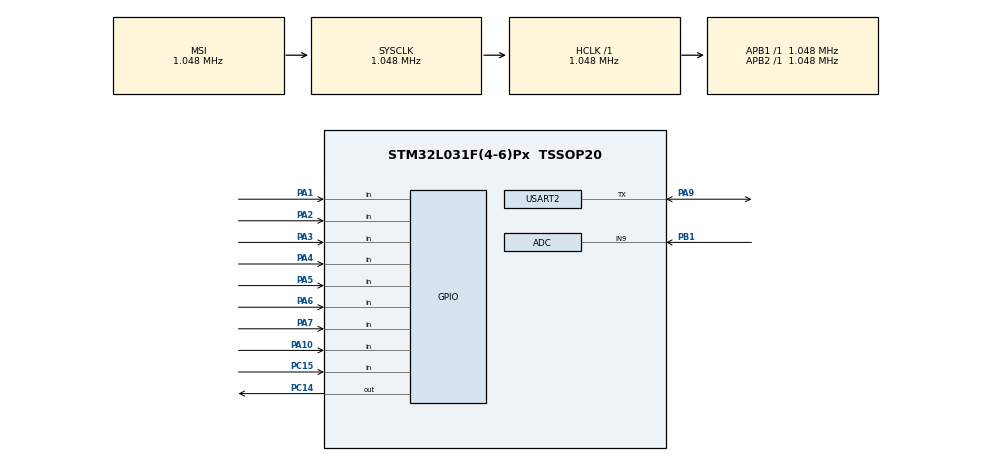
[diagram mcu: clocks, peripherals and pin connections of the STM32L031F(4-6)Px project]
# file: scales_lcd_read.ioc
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ADC.ClockPrescaler=ADC_CLOCK_SYNC_PCLK_DIV1
ADC.ContinuousConvMode=ENABLE
ADC.LowPowerAutoWait=ENABLE
ADC.Resolution=ADC_RESOLUTION_10B
ADC.SamplingTime=ADC_SAMPLETIME_7CYCLES_5
Mcu.Family=STM32L0
Mcu.Name=STM32L031F(4-6)Px
Mcu.Package=TSSOP20
PA0-CK_IN.Mode=SYS_WakeUp0
PA0-CK_IN.Signal=SYS_WKUP1
PA1.Signal=GPIO_Input
PA10.Signal=GPIO_Input
PA13.Mode=Serial_Wire
PA13.Signal=SYS_SWDIO
PA14.Mode=Serial_Wire
PA14.Signal=SYS_SWCLK
PA2.Signal=GPIO_Input
PA3.Signal=GPIO_Input
PA4.Signal=GPIO_Input
PA5.Signal=GPIO_Input
PA6.Signal=GPIO_Input
PA7.Signal=GPIO_Input
PA9.Mode=Half_duplex(single_wire_mode)
PA9.Signal=USART2_TX
PB1.Mode=IN9
PB1.Signal=ADC_IN9
PC14-OSC32_IN.Signal=GPIO_Output
PC15-OSC32_OUT.GPIO_PuPd=GPIO_PULLUP
PC15-OSC32_OUT.Signal=GPIO_Input
ProjectManager.HeapSize=0x200
ProjectManager.StackSize=0x400
ProjectManager.TargetToolchain=SW4STM32
RCC.AHBFreq_Value=1048000
RCC.APB1Freq_Value=1048000
RCC.APB1TimFreq_Value=1048000
RCC.APB2Freq_Value=1048000
RCC.APB2TimFreq_Value=1048000
RCC.HCLKFreq_Value=1048000
RCC.HSE_VALUE=8000000
RCC.HSI16_VALUE=16000000
RCC.HSI_VALUE=16000000
RCC.LSE_VALUE=32768
RCC.MSIClockRange=RCC_MSIRANGE_4
RCC.MSI_VALUE=1048000
RCC.PWR_Regulator_Voltage_Scale=PWR_REGULATOR_VOLTAGE_SCALE3
RCC.SYSCLKFreq_VALUE=1048000
RCC.Usart2ClockSelection=RCC_USART2CLKSOURCE_SYSCLK
RCC.VCOOutputFreq_Value=48000000
USART2.BaudRate=9600
USART2.VirtualMode-Half_duplex(single_wire_mode)=VM_ASYNC
USART2.WordLength=WORDLENGTH_8B
board=scales_lcd_read

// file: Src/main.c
/**
  ******************************************************************************
  * File Name          : main.c
  * Description        : Main program body
  ******************************************************************************
  ** This notice applies to any and all portions of this file
  * that are not between comment pairs USER CODE BEGIN and
  * USER CODE END. Other portions of this file, whether
  * inserted by the user or by software development tools
  * are owned by their respective copyright owners.
  *
  * COPYRIGHT(c) 2017 STMicroelectronics
  *
  * Redistribution and use in source and binary forms, with or without modification,
  * are permitted provided that the following conditions are met:
  *   1. Redistributions of source code must retain the above copyright notice,
  *      this list of conditions and the following disclaimer.
  *   2. Redistributions in binary form must reproduce the above copyright notice,
  *      this list of conditions and the following disclaimer in the documentation
  *      and/or other materials provided with the distribution.
  *   3. Neither the name of STMicroelectronics nor the names of its contributors
  *      may be used to endorse or promote products derived from this software
  *      without specific prior written permission.
  *
  * THIS SOFTWARE IS PROVIDED BY THE COPYRIGHT HOLDERS AND CONTRIBUTORS "AS IS"
  * AND ANY EXPRESS OR IMPLIED WARRANTIES, INCLUDING, BUT NOT LIMITED TO, THE
  * IMPLIED WARRANTIES OF MERCHANTABILITY AND FITNESS FOR A PARTICULAR PURPOSE ARE
  * DISCLAIMED. IN NO EVENT SHALL THE COPYRIGHT HOLDER OR CONTRIBUTORS BE LIABLE
  * FOR ANY DIRECT, INDIRECT, INCIDENTAL, SPECIAL, EXEMPLARY, OR CONSEQUENTIAL
  * DAMAGES (INCLUDING, BUT NOT LIMITED TO, PROCUREMENT OF SUBSTITUTE GOODS OR
  * SERVICES; LOSS OF USE, DATA, OR PROFITS; OR BUSINESS INTERRUPTION) HOWEVER
  * CAUSED AND ON ANY THEORY OF LIABILITY, WHETHER IN CONTRACT, STRICT LIABILITY,
  * OR TORT (INCLUDING NEGLIGENCE OR OTHERWISE) ARISING IN ANY WAY OUT OF THE USE
  * OF THIS SOFTWARE, EVEN IF ADVISED OF THE POSSIBILITY OF SUCH DAMAGE.
  *
  ******************************************************************************
  */

#include "main.h"
#include "stm32l0xx_hal.h"
#include "adc.h"
#include "usart.h"
#include "gpio.h"

/* USER CODE BEGIN Includes */
#include "string.h"
#include "stdlib.h"

#include "lcd.h"
#include "tx.h"
#include "scales.h"

/* USER CODE END Includes */

/* USER CODE BEGIN PV */
/* Private variables ---------------------------------------------------------*/

/* USER CODE END PV */

void SystemClock_Config(void);

/* USER CODE BEGIN PFP */
/* Private function prototypes -----------------------------------------------*/
void standby();

/* USER CODE END PFP */

/* USER CODE BEGIN 0 */

TXState_TypeDef tx_state = TXSTATE_OFF;

LCD_TypeDef lcd;

uint16_t value = 0;

/* USER CODE END 0 */

int main(void)
{

  /* MCU Configuration----------------------------------------------------------*/

  /* Reset of all peripherals, Initializes the Flash interface and the Systick. */
  HAL_Init();

  /* Configure the system clock */
  SystemClock_Config();

  /* Initialize all configured peripherals */
  MX_GPIO_Init();
  MX_ADC_Init();
  MX_USART2_UART_Init();

  /* USER CODE BEGIN 2 */

  /* Disable the uart for now */
  //HAL_UART_MspDeInit(&huart2);

  /* Check if the system was resumed from Standby mode */
  if (__HAL_PWR_GET_FLAG(PWR_FLAG_SB) != RESET) {
    /* Clear Standby flag */
    __HAL_PWR_CLEAR_FLAG(PWR_FLAG_SB);
  }

  /* Enable Ultra low power mode */
  HAL_PWREx_EnableUltraLowPower();
  //HAL_PWR_EnableWakeUpPin(PWR_WAKEUP_PIN1);

  /* Ensure the transmitter is off */
  HAL_GPIO_WritePin(GPIOC, GPIO_PIN_14, GPIO_PIN_RESET);

  HAL_ADCEx_Calibration_Start(&hadc, ADC_SINGLE_ENDED);
  HAL_ADC_Start(&hadc);

  LCD_int(&lcd);

  /* Buffer used for transmission on USART2 */
  char tx_buffer[255];
  int count = 0;

  /* USER CODE END 2 */

  /* Infinite loop */
  while (1)
  {

  /* USER CODE BEGIN 3 */

    if (LCD_pollForWeight(&lcd)) {
      sprintf(tx_buffer,
        "id:%d, weight: %d \n",
        ++count,
        lcd.weight
      );
      HAL_UART_Transmit(&huart2, (uint8_t*) tx_buffer, strlen(tx_buffer), 1000);
    }

//    if (LCD_read(&lcd)) {
//
//      LCD_decodeDigits(&lcd);
//
//      if (lcd.digit1 != 11) {
//
//        sprintf(tx_buffer,
//          "id:%d, d3: %d, d2: %d, d1: %d, d0: %d \n",
//          ++count,
//          lcd.digit3, lcd.digit2, lcd.digit1, lcd.digit0
//        );
//
//  //      char pins_com0_str[33];
//  //      itoa (lcd.pins_com0, pins_com0_str, 2);
//  //
//  //      char pins_com1_str[33];
//  //      itoa (lcd.pins_com1, pins_com1_str, 2);
//  //
//  //      char pins_com2_str[33];
//  //      itoa (lcd.pins_com2, pins_com2_str, 2);
//  //
//  //      char pins_com3_str[33];
//  //      itoa (lcd.pins_com3, pins_com3_str, 2);
//  //
//  //      sprintf(tx_buffer,
//  //        "id:%d, d3: %d, d2: %d, d1: %d, d0: %d \ncom0: %s, com1: %s, com2: %s, com3: %s\n",
//  //        ++count,
//  //        lcd.digit3, lcd.digit2, lcd.digit1, lcd.digit0,
//  //        pins_com0_str, pins_com1_str, pins_com2_str, pins_com3_str
//  //      );
//
//        HAL_UART_Transmit(&huart2, (uint8_t*) tx_buffer, strlen(tx_buffer), 1000);
//        HAL_Delay(250);
//      }
//    }

//    uint8_t pin_values = LCD_getPinValues();
//    char pin_values_str[33];
//    itoa (pin_values, pin_values_str, 2);
//    sprintf(tx_buffer, "id:%d, pins: %s, hex: %X\n", ++count, pin_values_str, pin_values);
//    HAL_UART_Transmit(&huart2, (uint8_t*) tx_buffer, strlen(tx_buffer), 1000);
//    HAL_Delay(2000);

  }
  /* USER CODE END 3 */

}

/** System Clock Configuration
*/
void SystemClock_Config(void)
{

  RCC_OscInitTypeDef RCC_OscInitStruct;
  RCC_ClkInitTypeDef RCC_ClkInitStruct;
  RCC_PeriphCLKInitTypeDef PeriphClkInit;

    /**Configure the main internal regulator output voltage
    */
  __HAL_PWR_VOLTAGESCALING_CONFIG(PWR_REGULATOR_VOLTAGE_SCALE3);

    /**Initializes the CPU, AHB and APB busses clocks
    */
  RCC_OscInitStruct.OscillatorType = RCC_OSCILLATORTYPE_MSI;
  RCC_OscInitStruct.MSIState = RCC_MSI_ON;
  RCC_OscInitStruct.MSICalibrationValue = 0;
  RCC_OscInitStruct.MSIClockRange = RCC_MSIRANGE_4;
  RCC_OscInitStruct.PLL.PLLState = RCC_PLL_NONE;
  if (HAL_RCC_OscConfig(&RCC_OscInitStruct) != HAL_OK)
  {
    _Error_Handler(__FILE__, __LINE__);
  }

    /**Initializes the CPU, AHB and APB busses clocks
    */
  RCC_ClkInitStruct.ClockType = RCC_CLOCKTYPE_HCLK|RCC_CLOCKTYPE_SYSCLK
                              |RCC_CLOCKTYPE_PCLK1|RCC_CLOCKTYPE_PCLK2;
  RCC_ClkInitStruct.SYSCLKSource = RCC_SYSCLKSOURCE_MSI;
  RCC_ClkInitStruct.AHBCLKDivider = RCC_SYSCLK_DIV1;
  RCC_ClkInitStruct.APB1CLKDivider = RCC_HCLK_DIV1;
  RCC_ClkInitStruct.APB2CLKDivider = RCC_HCLK_DIV1;

  if (HAL_RCC_ClockConfig(&RCC_ClkInitStruct, FLASH_LATENCY_0) != HAL_OK)
  {
    _Error_Handler(__FILE__, __LINE__);
  }

  PeriphClkInit.PeriphClockSelection = RCC_PERIPHCLK_USART2;
  PeriphClkInit.Usart2ClockSelection = RCC_USART2CLKSOURCE_SYSCLK;
  if (HAL_RCCEx_PeriphCLKConfig(&PeriphClkInit) != HAL_OK)
  {
    _Error_Handler(__FILE__, __LINE__);
  }

    /**Configure the Systick interrupt time
    */
  HAL_SYSTICK_Config(HAL_RCC_GetHCLKFreq()/1000);

    /**Configure the Systick
    */
  HAL_SYSTICK_CLKSourceConfig(SYSTICK_CLKSOURCE_HCLK);

  /* SysTick_IRQn interrupt configuration */
  HAL_NVIC_SetPriority(SysTick_IRQn, 0, 0);
}

/* USER CODE BEGIN 4 */

void standby() {
  /* The Following Wakeup sequence is highly recommended prior to each Standby mode entry
    mainly when using more than one wakeup source this is to not miss any wakeup event.
     - Disable all used wakeup sources,
     - Clear all related wakeup flags,
     - Re-enable all used wakeup sources,
     - Enter the Standby mode.
  */

  /* Disable all used wakeup sources: PWR_WAKEUP_PIN3 */
  HAL_PWR_DisableWakeUpPin(PWR_WAKEUP_PIN1);

  /* Clear all related wakeup flags*/
  __HAL_PWR_CLEAR_FLAG(PWR_FLAG_WU);

  /* Enable WakeUp Pin PWR_WAKEUP_PIN3 connected to PA.02 (Arduino A7) */
  HAL_PWR_EnableWakeUpPin(PWR_WAKEUP_PIN1);

  /* Enter the Standby mode */
  HAL_PWR_EnterSTANDBYMode();

}

/**
 * Callback for HAL_GPIO_EXTI_IRQHandler()
 * in EXTI0_1_IRQHandler().
 *
 * Handles the external interrupt.
 */
void HAL_GPIO_EXTI_Callback(uint16_t GPIO_Pin) {
    //@todo
}

/* USER CODE END 4 */

void _Error_Handler(char * file, int line)
{
  while(1)
  {
  }
}

/************************ (C) COPYRIGHT STMicroelectronics *****END OF FILE****/
